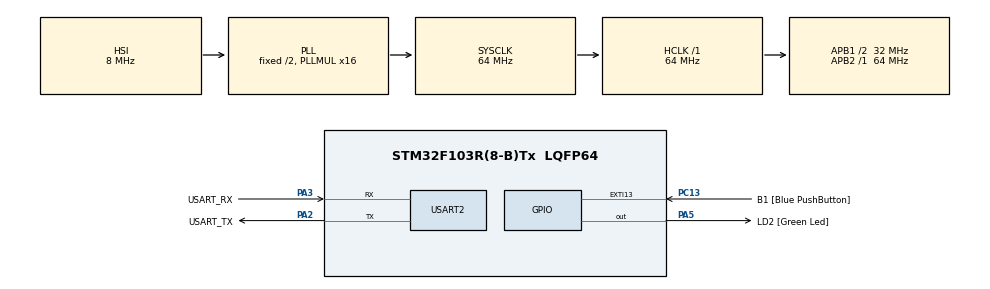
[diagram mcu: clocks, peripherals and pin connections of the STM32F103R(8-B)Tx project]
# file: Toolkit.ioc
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Dma.Request0=USART2_TX
Dma.USART2_TX.0.Direction=DMA_MEMORY_TO_PERIPH
Dma.USART2_TX.0.Instance=DMA1_Channel7
Dma.USART2_TX.0.MemDataAlignment=DMA_MDATAALIGN_BYTE
Dma.USART2_TX.0.MemInc=DMA_MINC_ENABLE
Dma.USART2_TX.0.Mode=DMA_NORMAL
Dma.USART2_TX.0.PeriphDataAlignment=DMA_PDATAALIGN_BYTE
Dma.USART2_TX.0.PeriphInc=DMA_PINC_DISABLE
Dma.USART2_TX.0.Priority=DMA_PRIORITY_LOW
FREERTOS.Tasks01=defaultTask,0,128,StartDefaultTask,Default,NULL
Mcu.Family=STM32F1
Mcu.Name=STM32F103R(8-B)Tx
Mcu.Package=LQFP64
NVIC.DMA1_Channel7_IRQn=true\:5\:0\:false\:false\:true\:true
NVIC.PriorityGroup=NVIC_PRIORITYGROUP_4
NVIC.TIM1_UP_IRQn=true\:0\:0\:false\:false\:true\:false
NVIC.TimeBase=TIM1_UP_IRQn
NVIC.TimeBaseIP=TIM1
NVIC.USART2_IRQn=true\:5\:0\:false\:false\:true\:true
PA13.GPIO_Label=TMS
PA13.Mode=Serial_Wire
PA13.Signal=SYS_JTMS-SWDIO
PA14.GPIO_Label=TCK
PA14.Mode=Serial_Wire
PA14.Signal=SYS_JTCK-SWCLK
PA2.GPIO_Label=USART_TX
PA2.GPIO_Mode=GPIO_MODE_AF_PP
PA2.GPIO_PuPd=GPIO_NOPULL
PA2.GPIO_Speed=GPIO_SPEED_FREQ_LOW
PA2.Mode=Asynchronous
PA2.Signal=USART2_TX
PA3.GPIO_Label=USART_RX
PA3.GPIO_Mode=GPIO_MODE_AF_PP
PA3.GPIO_PuPd=GPIO_NOPULL
PA3.GPIO_Speed=GPIO_SPEED_FREQ_LOW
PA3.Mode=Asynchronous
PA3.Signal=USART2_RX
PA5.GPIO_Label=LD2 [Green Led]
PA5.GPIO_ModeDefaultOutputPP=GPIO_MODE_OUTPUT_PP
PA5.GPIO_PuPd=GPIO_NOPULL
PA5.GPIO_Speed=GPIO_SPEED_FREQ_LOW
PA5.Signal=GPIO_Output
PB3.GPIO_Label=SWO
PB3.Signal=SYS_JTDO-TRACESWO
PC13-TAMPER-RTC.GPIO_Label=B1 [Blue PushButton]
PC13-TAMPER-RTC.GPIO_ModeDefaultEXTI=GPIO_MODE_EVT_RISING
PC13-TAMPER-RTC.GPIO_PuPd=GPIO_NOPULL
PC13-TAMPER-RTC.Signal=GPXTI13
PC14-OSC32_IN.Signal=RCC_OSC32_IN
PC15-OSC32_OUT.Signal=RCC_OSC32_OUT
PD0-OSC_IN.Signal=RCC_OSC_IN
PD1-OSC_OUT.Signal=RCC_OSC_OUT
ProjectManager.HeapSize=0x200
ProjectManager.StackSize=0x400
ProjectManager.TargetToolchain=SW4STM32
RCC.AHBFreq_Value=64000000
RCC.APB1CLKDivider=RCC_HCLK_DIV2
RCC.APB1Freq_Value=32000000
RCC.APB1TimFreq_Value=64000000
RCC.APB2Freq_Value=64000000
RCC.APB2TimFreq_Value=64000000
RCC.HCLKFreq_Value=64000000
RCC.PLLMUL=RCC_PLL_MUL16
RCC.SYSCLKFreq_VALUE=64000000
RCC.SYSCLKSource=RCC_SYSCLKSOURCE_PLLCLK
RCC.USBFreq_Value=64000000
USART2.VirtualMode=VM_ASYNC
VP_FREERTOS_VS_ENABLE.Mode=Enabled
VP_SYS_VS_tim1.Mode=TIM1
board=NUCLEO-F103RB

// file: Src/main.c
/**
  ******************************************************************************
  * File Name          : main.c
  * Description        : Main program body
  ******************************************************************************
  * This notice applies to any and all portions of this file
  * that are not between comment pairs USER CODE BEGIN and
  * USER CODE END. Other portions of this file, whether
  * inserted by the user or by software development tools
  * are owned by their respective copyright owners.
  *
  * Copyright (c) 2017 STMicroelectronics International N.V.
  * All rights reserved.
  *
  * Redistribution and use in source and binary forms, with or without
  * modification, are permitted, provided that the following conditions are met:
  *
  * 1. Redistribution of source code must retain the above copyright notice,
  *    this list of conditions and the following disclaimer.
  * 2. Redistributions in binary form must reproduce the above copyright notice,
  *    this list of conditions and the following disclaimer in the documentation
  *    and/or other materials provided with the distribution.
  * 3. Neither the name of STMicroelectronics nor the names of other
  *    contributors to this software may be used to endorse or promote products
  *    derived from this software without specific written permission.
  * 4. This software, including modifications and/or derivative works of this
  *    software, must execute solely and exclusively on microcontroller or
  *    microprocessor devices manufactured by or for STMicroelectronics.
  * 5. Redistribution and use of this software other than as permitted under
  *    this license is void and will automatically terminate your rights under
  *    this license.
  *
  * THIS SOFTWARE IS PROVIDED BY STMICROELECTRONICS AND CONTRIBUTORS "AS IS"
  * AND ANY EXPRESS, IMPLIED OR STATUTORY WARRANTIES, INCLUDING, BUT NOT
  * LIMITED TO, THE IMPLIED WARRANTIES OF MERCHANTABILITY, FITNESS FOR A
  * PARTICULAR PURPOSE AND NON-INFRINGEMENT OF THIRD PARTY INTELLECTUAL PROPERTY
  * RIGHTS ARE DISCLAIMED TO THE FULLEST EXTENT PERMITTED BY LAW. IN NO EVENT
  * SHALL STMICROELECTRONICS OR CONTRIBUTORS BE LIABLE FOR ANY DIRECT, INDIRECT,
  * INCIDENTAL, SPECIAL, EXEMPLARY, OR CONSEQUENTIAL DAMAGES (INCLUDING, BUT NOT
  * LIMITED TO, PROCUREMENT OF SUBSTITUTE GOODS OR SERVICES; LOSS OF USE, DATA,
  * OR PROFITS; OR BUSINESS INTERRUPTION) HOWEVER CAUSED AND ON ANY THEORY OF
  * LIABILITY, WHETHER IN CONTRACT, STRICT LIABILITY, OR TORT (INCLUDING
  * NEGLIGENCE OR OTHERWISE) ARISING IN ANY WAY OUT OF THE USE OF THIS SOFTWARE,
  * EVEN IF ADVISED OF THE POSSIBILITY OF SUCH DAMAGE.
  *
  ******************************************************************************
  */
#include "main.h"
#include "stm32f1xx_hal.h"
#include "cmsis_os.h"

/* USER CODE BEGIN Includes */
#include "string.h"
#include "cmdline.h"
#include "nucleo_cmd_list.h"

/* USER CODE END Includes */

UART_HandleTypeDef huart2;
DMA_HandleTypeDef hdma_usart2_tx;

osThreadId defaultTaskHandle;

/* USER CODE BEGIN PV */
/* Private variables ---------------------------------------------------------*/
cmd_line_desc_ptr_t command_line;

#define CMD_LINE_TX_BUF_LEN (512)
#define CMD_LINE_RX_BUF_LEN (8)
#define CMD_LINE_LINE_BUF_LEN (32)
#define CMD_LINE_MAX_ARGS_CNT (8)
#define CMD_LINE_IO_TIMEOUT_MS  (2000)
#define CMD_LINE_PROMPT ("-->")
#define CMD_LINE_ECHO_ENABLED (1)
#define CMD_LINE_ECHO_DISABLED (0)

#define USART2_RX_BUF_LEN (1)
char usart2_rx_buf[USART2_RX_BUF_LEN];
char cmd_line_tx_buf[CMD_LINE_TX_BUF_LEN];
char cmd_line_rx_buf[CMD_LINE_RX_BUF_LEN];
char cmd_line_line_buf[CMD_LINE_LINE_BUF_LEN];
char* cmd_line_args_starts[CMD_LINE_MAX_ARGS_CNT];
/* USER CODE END PV */

void SystemClock_Config(void);
static void MX_GPIO_Init(void);
static void MX_DMA_Init(void);
static void MX_USART2_UART_Init(void);
void StartDefaultTask(void const * argument);

/* USER CODE BEGIN PFP */
/* Private function prototypes -----------------------------------------------*/

int uart_tx_nb(const char* str, int len);

int uart_tx_tc(const char* str, int len, int timeout_ms);

int uart_rx_tc(cmd_line_desc_ptr_t cmd_line_desc, char* str, int len, int timeout_ms);

/* USER CODE END PFP */

int main(void)
{

  /* USER CODE BEGIN 1 */
  cmd_line_init_t cmd_line_init_data = {
      .prompt = CMD_LINE_PROMPT,
      .tx_tc_fn = uart_tx_tc,
      .tx_nb_fn = uart_tx_nb,
      .rx_fn = uart_rx_tc,
      .tx_buf = cmd_line_tx_buf,
      .tx_buf_len = CMD_LINE_TX_BUF_LEN,
      .rx_buf = cmd_line_rx_buf,
      .rx_buf_len = CMD_LINE_RX_BUF_LEN,
      .line_buf = cmd_line_line_buf,
      .line_buf_size = CMD_LINE_LINE_BUF_LEN,
      .max_args_cnt = CMD_LINE_MAX_ARGS_CNT,
      .io_timeout_ms = CMD_LINE_IO_TIMEOUT_MS,
      .args_starts = cmd_line_args_starts,
      .echo_enabled = CMD_LINE_ECHO_ENABLED,
      .cmd_root_lis = nucleo_cmd_list,
  };

  /* USER CODE END 1 */

  /* MCU Configuration----------------------------------------------------------*/

  /* Reset of all peripherals, Initializes the Flash interface and the Systick. */
  HAL_Init();

  /* Configure the system clock */
  SystemClock_Config();

  /* Initialize all configured peripherals */
  MX_GPIO_Init();
  MX_DMA_Init();
  MX_USART2_UART_Init();

  /* USER CODE BEGIN 2 */
  command_line = cmd_line_init(&cmd_line_init_data);
  if (command_line == NULL) {
      Error_Handler();
  }

  /* USER CODE END 2 */

  /* Create the thread(s) */
  /* definition and creation of defaultTask */
  osThreadDef(defaultTask, StartDefaultTask, osPriorityNormal, 0, 128);
  defaultTaskHandle = osThreadCreate(osThread(defaultTask), NULL);

  /* Start scheduler */
  osKernelStart();

  /* We should never get here as control is now taken by the scheduler */

  /* Infinite loop */
  while (1)
  {

  }

}

/** System Clock Configuration
*/
void SystemClock_Config(void)
{

  RCC_OscInitTypeDef RCC_OscInitStruct;
  RCC_ClkInitTypeDef RCC_ClkInitStruct;

    /**Initializes the CPU, AHB and APB busses clocks
    */
  RCC_OscInitStruct.OscillatorType = RCC_OSCILLATORTYPE_HSI;
  RCC_OscInitStruct.HSIState = RCC_HSI_ON;
  RCC_OscInitStruct.HSICalibrationValue = 16;
  RCC_OscInitStruct.PLL.PLLState = RCC_PLL_ON;
  RCC_OscInitStruct.PLL.PLLSource = RCC_PLLSOURCE_HSI_DIV2;
  RCC_OscInitStruct.PLL.PLLMUL = RCC_PLL_MUL16;
  if (HAL_RCC_OscConfig(&RCC_OscInitStruct) != HAL_OK)
  {
    _Error_Handler(__FILE__, __LINE__);
  }

    /**Initializes the CPU, AHB and APB busses clocks
    */
  RCC_ClkInitStruct.ClockType = RCC_CLOCKTYPE_HCLK|RCC_CLOCKTYPE_SYSCLK
                              |RCC_CLOCKTYPE_PCLK1|RCC_CLOCKTYPE_PCLK2;
  RCC_ClkInitStruct.SYSCLKSource = RCC_SYSCLKSOURCE_PLLCLK;
  RCC_ClkInitStruct.AHBCLKDivider = RCC_SYSCLK_DIV1;
  RCC_ClkInitStruct.APB1CLKDivider = RCC_HCLK_DIV2;
  RCC_ClkInitStruct.APB2CLKDivider = RCC_HCLK_DIV1;

  if (HAL_RCC_ClockConfig(&RCC_ClkInitStruct, FLASH_LATENCY_2) != HAL_OK)
  {
    _Error_Handler(__FILE__, __LINE__);
  }

    /**Configure the Systick interrupt time
    */
  HAL_SYSTICK_Config(HAL_RCC_GetHCLKFreq()/1000);

    /**Configure the Systick
    */
  HAL_SYSTICK_CLKSourceConfig(SYSTICK_CLKSOURCE_HCLK);

  /* SysTick_IRQn interrupt configuration */
  HAL_NVIC_SetPriority(SysTick_IRQn, 15, 0);
}

/* USART2 init function */
static void MX_USART2_UART_Init(void)
{

  huart2.Instance = USART2;
  huart2.Init.BaudRate = 115200;
  huart2.Init.WordLength = UART_WORDLENGTH_8B;
  huart2.Init.StopBits = UART_STOPBITS_1;
  huart2.Init.Parity = UART_PARITY_NONE;
  huart2.Init.Mode = UART_MODE_TX_RX;
  huart2.Init.HwFlowCtl = UART_HWCONTROL_NONE;
  huart2.Init.OverSampling = UART_OVERSAMPLING_16;
  if (HAL_UART_Init(&huart2) != HAL_OK)
  {
    _Error_Handler(__FILE__, __LINE__);
  }

}

static void MX_DMA_Init(void)
{
  /* DMA controller clock enable */
  __HAL_RCC_DMA1_CLK_ENABLE();

  /* DMA interrupt init */
  /* DMA1_Channel7_IRQn interrupt configuration */
  HAL_NVIC_SetPriority(DMA1_Channel7_IRQn, 5, 0);
  HAL_NVIC_EnableIRQ(DMA1_Channel7_IRQn);

}

/** Configure pins as
        * Analog
        * Input
        * Output
        * EVENT_OUT
        * EXTI
*/
static void MX_GPIO_Init(void)
{

  GPIO_InitTypeDef GPIO_InitStruct;

  /* GPIO Ports Clock Enable */
  __HAL_RCC_GPIOC_CLK_ENABLE();
  __HAL_RCC_GPIOD_CLK_ENABLE();
  __HAL_RCC_GPIOA_CLK_ENABLE();
  __HAL_RCC_GPIOB_CLK_ENABLE();

  /*Configure GPIO pin Output Level */
  HAL_GPIO_WritePin(LD2_GPIO_Port, LD2_Pin, GPIO_PIN_RESET);

  /*Configure GPIO pin : B1_Pin */
  GPIO_InitStruct.Pin = B1_Pin;
  GPIO_InitStruct.Mode = GPIO_MODE_EVT_RISING;
  GPIO_InitStruct.Pull = GPIO_NOPULL;
  HAL_GPIO_Init(B1_GPIO_Port, &GPIO_InitStruct);

  /*Configure GPIO pin : LD2_Pin */
  GPIO_InitStruct.Pin = LD2_Pin;
  GPIO_InitStruct.Mode = GPIO_MODE_OUTPUT_PP;
  GPIO_InitStruct.Speed = GPIO_SPEED_FREQ_LOW;
  HAL_GPIO_Init(LD2_GPIO_Port, &GPIO_InitStruct);

}

/* USER CODE BEGIN 4 */

void uart_rx_cb(char c) {

}

int uart_tx_nb(const char* str, int len) {
  if (HAL_UART_Transmit_DMA(&huart2, (uint8_t*)str, len) != HAL_OK) {
      return CMD_LINE_ERR_GENERAL;
  }
  return CMD_LINE_SUCCESS;
}

int uart_tx_tc(const char* str, int len, int timeout_ms) {
  if (HAL_UART_Transmit(&huart2, (uint8_t*)str, len, timeout_ms) != HAL_OK) {
      return CMD_LINE_ERR_GENERAL;
  }
  return CMD_LINE_SUCCESS;
}

int uart_rx_tc(cmd_line_desc_ptr_t cmd_line_desc, char* str, int len, int timeout_ms) {
  if (HAL_UART_Receive(&huart2, (uint8_t*)str, len, timeout_ms) != HAL_OK) {
      return CMD_LINE_ERR_GENERAL;
  }
  return CMD_LINE_SUCCESS;
}

void HAL_UART_RxCpltCallback(UART_HandleTypeDef *huart) {
  int i;
  for (i = 0; i < huart->RxXferSize; i++) {
      cmd_line_uart_rx_cb(command_line, usart2_rx_buf[i]);
  }
}

/* USER CODE END 4 */

/* StartDefaultTask function */
void StartDefaultTask(void const * argument)
{
  /* USER CODE BEGIN 5 */
  cmd_line_printf_tk(command_line, "%s", cmd_line_get_prompt(command_line));
  /* Infinite loop */
  for(;;)
  {
    HAL_UART_Receive_IT(&huart2, (uint8_t*)usart2_rx_buf, 1);
    int retVal = cmd_line_process(command_line);
    switch (retVal) {
      case CMD_LINE_SUCCESS:
        cmd_line_printf_tk(command_line, "%s", cmd_line_get_prompt(command_line));
        break;
      case CMD_LINE_ERR_CMD_NOT_FOUND:
        cmd_line_printf_tk(command_line, "Command not found.\r\n");
        cmd_line_printf_tk(command_line, "%s", cmd_line_get_prompt(command_line));
        break;
      case CMD_LINE_NO_CMD:
        /* No action. */
        break;
      default:
        cmd_line_printf_tk(command_line, "Interpreter error: 0x%X\r\n", retVal);
        cmd_line_printf_tk(command_line, "%s", cmd_line_get_prompt(command_line));
        break;
    }
  }
  /* USER CODE END 5 */
}

void HAL_TIM_PeriodElapsedCallback(TIM_HandleTypeDef *htim)
{
  if (htim->Instance == TIM1) {
    HAL_IncTick();
  }
}

void _Error_Handler(char * file, int line)
{
  while(1)
  {
  }
}

/************************ (C) COPYRIGHT STMicroelectronics *****END OF FILE****/
